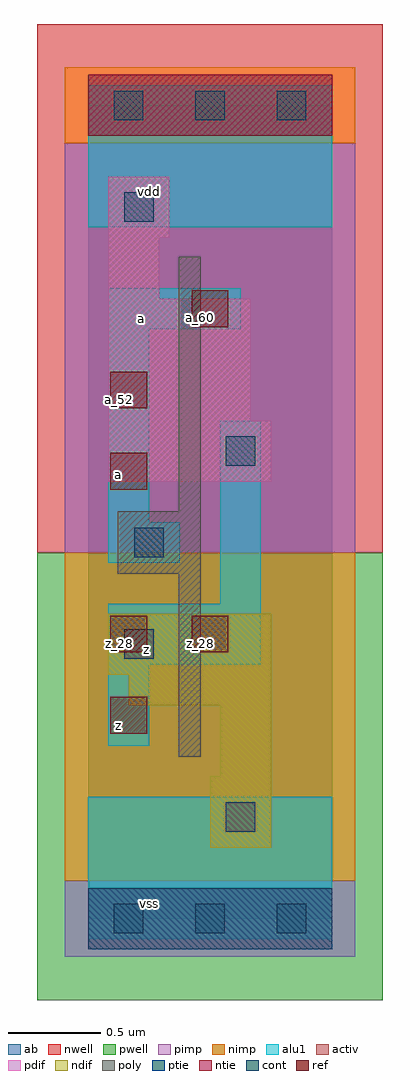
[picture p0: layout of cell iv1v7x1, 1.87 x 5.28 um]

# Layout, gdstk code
import gdstk
lib = gdstk.Library(unit=1e-6, precision=2.5e-09)
def R(c, l, rs):  # rectangles x0, y0, x1, y1
    for r in rs: c.add(gdstk.rectangle(r[:2], r[2:], *l))
def A(c, l, x, y, w, h, nx, ny, dx, dy):  # array of equal rectangles
    R(c, l, [(x+i*dx, y+j*dy, x+i*dx+w, y+j*dy+h) for i in range(nx) for j in range(ny)])
ndif = (3, 0)
pdif = (4, 0)
ntie = (5, 0)
ptie = (6, 0)
ref = (24, 0)
cont = (25, 0)
pwell = (41, 0)
nwell = (42, 0)
activ = (43, 0)
pimp = (44, 0)
nimp = (45, 0)
poly = (46, 0)
alu1 = (49, 0)
ab = (63, 0)

iv1v7x1 = lib.new_cell('iv1v7x1')
R(iv1v7x1, ndif, [(0.66,0.385,0.99,0.77), (0.715,0.77,0.99,1.155), (0.22,1.155,0.99,1.32), (0.11,1.32,0.99,1.65)])
R(iv1v7x1, pdif, [(0.11,2.365,0.99,2.695), (0.11,2.695,0.88,3.355), (0.11,3.355,0.385,3.685), (0.11,3.685,0.44,4.015)])
R(iv1v7x1, ntie, [(0,4.235,1.32,4.565)])
R(iv1v7x1, ptie, [(0,-0.165,1.32,0.165)])
R(iv1v7x1, ref, [(0.12,1,0.32,1.2), (0.12,1.44,0.32,1.64), (0.56,1.44,0.76,1.64), (0.12,2.32,0.32,2.52), (0.12,2.76,0.32,2.96), (0.56,3.2,0.76,3.4)])
A(iv1v7x1, cont, 0.14, -0.08, 0.16, 0.16, 3, 2, 0.44, 4.4)
R(iv1v7x1, cont, [(0.745,0.47,0.905,0.63), (0.195,1.405,0.355,1.565), (0.25,1.955,0.41,2.115), (0.745,2.45,0.905,2.61), (0.195,3.77,0.355,3.93)])
R(iv1v7x1, pwell, [(-0.275,-0.44,1.595,1.98)])
R(iv1v7x1, nwell, [(-0.275,1.98,1.595,4.84)])
R(iv1v7x1, activ, [(0,-0.165,1.32,0.165), (0.66,0.385,0.99,0.77), (0.715,0.77,0.99,1.155), (0.22,1.155,0.99,1.32), (0.11,1.32,0.99,1.65), (0.11,2.365,0.99,2.695), (0.11,2.695,0.88,3.355), (0.11,3.355,0.385,3.685), (0.11,3.685,0.44,4.015), (0,4.235,1.32,4.565)])
R(iv1v7x1, pimp, [(-0.125,-0.205,1.445,0.205), (-0.125,1.98,1.445,4.195)])
R(iv1v7x1, nimp, [(-0.125,0.205,1.445,1.98), (-0.125,4.195,1.445,4.605)])
R(iv1v7x1, poly, [(0.49,0.875,0.61,1.865), (0.16,1.865,0.61,2.205), (0.49,2.205,0.61,3.58)])
R(iv1v7x1, alu1, [(0,-0.11,1.32,0.66), (0.11,0.935,0.33,1.375), (0.11,1.375,0.935,1.705), (0.715,1.705,0.935,2.695), (0.11,1.925,0.495,2.145), (0.11,2.145,0.33,3.19), (0.11,3.19,0.825,3.41), (0,3.74,1.32,4.51)])
R(iv1v7x1, ab, [(0,0,1.32,4.4)])
iv1v7x1.add(gdstk.Label('vss', (0.33,0.0825), layer=49, texttype=0))
iv1v7x1.add(gdstk.Label('z', (0.165,1.045), layer=49, texttype=0))
iv1v7x1.add(gdstk.Label('z', (0.315,1.4575), layer=49, texttype=0))
iv1v7x1.add(gdstk.Label('a', (0.165,2.405), layer=49, texttype=0))
iv1v7x1.add(gdstk.Label('a', (0.2875,3.245), layer=49, texttype=0))
iv1v7x1.add(gdstk.Label('vdd', (0.33,3.9325), layer=49, texttype=0))
iv1v7x1.add(gdstk.Label('z_28', (0.61,1.49), layer=24, texttype=0))
iv1v7x1.add(gdstk.Label('a_60', (0.61,3.25), layer=24, texttype=0))
iv1v7x1.add(gdstk.Label('z_20', (0.17,1.05), layer=24, texttype=0))
iv1v7x1.add(gdstk.Label('z_28', (0.17,1.49), layer=24, texttype=0))
iv1v7x1.add(gdstk.Label('a_44', (0.17,2.37), layer=24, texttype=0))
iv1v7x1.add(gdstk.Label('a_52', (0.17,2.81), layer=24, texttype=0))

lib.write_gds('iv1v7x1.gds')
